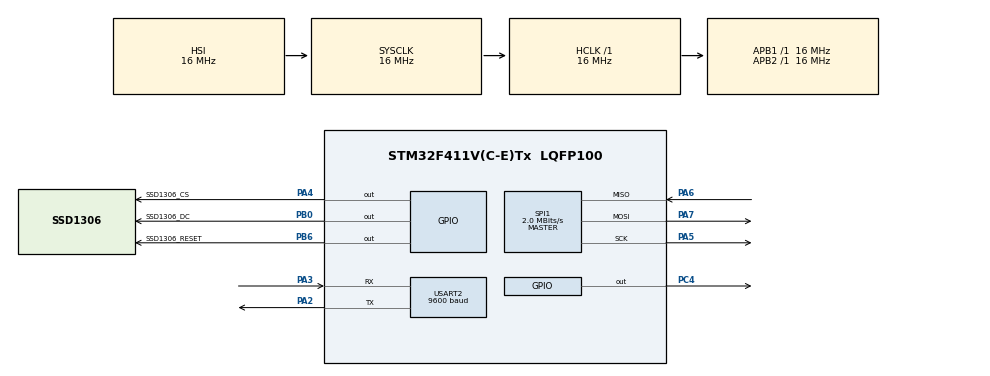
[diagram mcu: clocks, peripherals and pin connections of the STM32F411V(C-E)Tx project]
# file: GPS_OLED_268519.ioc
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Mcu.Family=STM32F4
Mcu.Name=STM32F411V(C-E)Tx
Mcu.Package=LQFP100
NVIC.PriorityGroup=NVIC_PRIORITYGROUP_4
NVIC.SPI1_IRQn=true\:0\:0\:false\:false\:true\:true\:true\:true
NVIC.USART2_IRQn=true\:0\:0\:false\:false\:true\:true\:true\:true
PA13.Mode=Serial_Wire
PA13.Signal=SYS_JTMS-SWDIO
PA14.Mode=Serial_Wire
PA14.Signal=SYS_JTCK-SWCLK
PA2.Mode=Asynchronous
PA2.Signal=USART2_TX
PA3.Mode=Asynchronous
PA3.Signal=USART2_RX
PA4.GPIO_Label=SSD1306_CS
PA4.Signal=GPIO_Output
PA5.Mode=Full_Duplex_Master
PA5.Signal=SPI1_SCK
PA6.Mode=Full_Duplex_Master
PA6.Signal=SPI1_MISO
PA7.Mode=Full_Duplex_Master
PA7.Signal=SPI1_MOSI
PB0.GPIO_Label=SSD1306_DC
PB0.Signal=GPIO_Output
PB6.GPIO_Label=SSD1306_RESET
PB6.Signal=GPIO_Output
PC4.Signal=GPIO_Output
ProjectManager.HeapSize=0x200
ProjectManager.StackSize=0x400
ProjectManager.TargetToolchain=STM32CubeIDE
RCC.48MHZClocksFreq_Value=64000000
RCC.AHBFreq_Value=16000000
RCC.APB1Freq_Value=16000000
RCC.APB2Freq_Value=16000000
RCC.CortexFreq_Value=16000000
RCC.HSE_VALUE=25000000
RCC.HSI_VALUE=16000000
RCC.LSE_VALUE=32768
RCC.PLLM=12
RCC.SYSCLKFreq_VALUE=16000000
RCC.VCOOutputFreq_Value=256000000
SPI1.BaudRatePrescaler=SPI_BAUDRATEPRESCALER_8
SPI1.CalculateBaudRate=2.0 MBits/s
SPI1.Direction=SPI_DIRECTION_2LINES
SPI1.Mode=SPI_MODE_MASTER
SPI1.VirtualType=VM_MASTER
USART2.BaudRate=9600
USART2.Mode=MODE_RX
USART2.VirtualMode=VM_ASYNC
USART2.WordLength=WORDLENGTH_8B
board=custom

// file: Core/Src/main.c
/* USER CODE BEGIN Header */
/**
  ******************************************************************************
  * @file           : main.c
  * @brief          : Main program body
  ******************************************************************************
  * @attention
  *
  * Copyright (c) 2025 STMicroelectronics.
  * All rights reserved.
  *
  * This software is licensed under terms that can be found in the LICENSE file
  * in the root directory of this software component.
  * If no LICENSE file comes with this software, it is provided AS-IS.
  *
  ******************************************************************************
  */
/* USER CODE END Header */
#include "main.h"

/* USER CODE BEGIN Includes */
#include "spi.h"
#include "GFX_BW.h"
#include "OLED_SSD1306.h"

#include "fonts/fonts.h"
#include <stdlib.h>  // dla rand()
#include <stdio.h>   // dla sprintf()
#include <string.h>
#include <math.h>

/* USER CODE END Includes */

/* USER CODE BEGIN PD */
#define GPS_BUFFER_SIZE 128
#define MAX_CHARS_PER_LINE 20
#define MAX_LINES 6

/* USER CODE END PD */

//SPI_HandleTypeDef hspi1;

UART_HandleTypeDef huart2;

/* USER CODE BEGIN PV */
char gps_buffer[GPS_BUFFER_SIZE];
// BUFORY NA RAMKI GPS
char gga_buffer[GPS_BUFFER_SIZE]; // Bufor na ramkę $GPGGA
char rmc_buffer[GPS_BUFFER_SIZE]; // Bufor na ramkę $GPRMC

volatile uint16_t gps_idx = 0;       // indeks do bufora GPS
volatile uint8_t gps_line_ready = 0; // flaga gotowej linii
uint8_t rx_byte;                     // bufor odbioru jednego znaku

// Zmienne GPS
float latitude = 0.0f;
float longitude = 0.0f;
char ns = 'N';
char ew = 'E';
int satellites = 0;
char time_field[11] = {0};
float altitude = 0.0f;

// Zmienne z ramki RMC
char date_field[7] = {0};     // DDMMYY
float speed_knots = 0.0f;
float speed_kmh = 0.0f;
int fix_valid = 0;            // A = 1, V = 0

char last_lines[MAX_LINES][GPS_BUFFER_SIZE] = {0};
/* USER CODE END PV */

void SystemClock_Config(void);
void MX_GPIO_Init(void);
void MX_SPI1_Init(void);
void MX_USART2_UART_Init(void);
/* USER CODE BEGIN PFP */

///Funkcja dzieląca tekst na linie o maksymalnej długości MAX_CHARS_PER_LINE mieszczacej sie na wyswietlaczu
void SplitTextSimple(const char *input, char lines[MAX_LINES][MAX_CHARS_PER_LINE+1])
{
    int start = 0; //indeks początkowy w tekście do kopiowania
    for(int i = 0; i < MAX_LINES; i++) { //iteracja po wszystkich liniach
        int j;
        //kopiujemy znaki do bieżącej linii
        //max znaków (MAX_CHARS_PER_LINE) lub do końca stringu
        for(j = 0; j < MAX_CHARS_PER_LINE && input[start+j] != '\0'; j++) {
            lines[i][j] = input[start+j];
        }
        lines[i][j] = '\0'; //dodanie znaku końca stringu
        start += MAX_CHARS_PER_LINE; //przesunięcie indeksu startowego do kolejnego fragmentu tekstu
    }
}

//Konwersja wspolrzędnych z formatu NMEA (ddmm.mmmm) na decimal
float convertNMEAToDecimal(const char* nmea)
{
    float val = atof(nmea);          //konwersja stringa na liczbę zmiennoprzecinkową
    int degrees = (float)((int)(val / 100.0f));  //częsc calkowita to stopnie
    float minutes = val - (degrees * 100.0f); //reszta to minuty
    return degrees + minutes / 60.0f;  //zamiana minut na stopnie dziesiętne i zwrocenie wartosci
}

//Parsowanie linii GGA z GPS na zmienne globalne
void parseGGA(const char* line)
{
    char copy[GPS_BUFFER_SIZE];
    strcpy(copy, line); //kopiujemy linie, bo strtok modyfikuje string

    char *token;
    int field_idx = 0;

    //dzielimy linie po przecinkach
    token = strtok(copy, ",");
    while(token != NULL) {
        switch(field_idx) {
            case 1: //pole czasu (hhmmss.sss)
                strncpy(time_field, token, sizeof(time_field)-1);
                time_field[sizeof(time_field)-1] = '\0';
                break;
            case 2: //szerokosc geo
                latitude = convertNMEAToDecimal(token);
                break;
            case 3: //N/S
                ns = token[0];
                if(ns == 'S') latitude = -latitude; //jesli poludnie, wartosc ujemna
                break;
            case 4: //dlugosc geo
                longitude = convertNMEAToDecimal(token);
                break;
            case 5: //E/W
                ew = token[0];
                if(ew == 'W') longitude = -longitude; //jesli zachd, wartosc ujemna
                break;
            case 7: // liczba satelitow
                satellites = atoi(token); //string -> int
                break;
            case 9: //wysokosc NPM
                altitude = atof(token); //string -> float
            default:
                break; //inne pola ignorujemy
        }
        field_idx++;
        token = strtok(NULL, ","); //przechodzimy do nastepnego pola
    }
}

//Parsowanie ramki RMC (czas, data, prędkosc)
void parseRMC(const char* line)
{
    char copy[GPS_BUFFER_SIZE];
    strcpy(copy, line);

    char *token = strtok(copy, ",");
    int field_idx = 0;

    while(token != NULL)
    {
        switch(field_idx)
        {
            case 1: //czas
                strncpy(time_field, token, sizeof(time_field)-1);
                break;

            case 2: //status A/V
                fix_valid = (token[0] == 'A');
                break;

            case 7: //predkosc w wezlach
                speed_knots = atof(token);
                speed_kmh = speed_knots * 1.852f;
                break;

            case 9: //data DDMMYY
                strncpy(date_field, token, sizeof(date_field)-1);
                break;
        }

        token = strtok(NULL, ",");
        field_idx++;
    }
}

void addNewLine(const char* line) {
    //przesuwamy stare linie w dol
    for(int i = MAX_LINES-1; i > 0; i--) {
        strncpy(last_lines[i], last_lines[i-1], GPS_BUFFER_SIZE-1);
        last_lines[i][GPS_BUFFER_SIZE-1] = 0;
    }
    strncpy(last_lines[0], line, GPS_BUFFER_SIZE-1);
    last_lines[0][GPS_BUFFER_SIZE-1] = 0;
}

///Funkcja dzielaca tekst na linie o maksymalnej dlugosci MAX_CHARS_PER_LINE
///Wypelnia tablicę 'lines' rozpoczynajac od podanego 'start_line_index'
void SplitTextWithIndex(const char *input, char lines[MAX_LINES][MAX_CHARS_PER_LINE+1], int start_line_index)
{
    int start = 0; // indeks poczatkowy w tekście do kopiowania
    for(int i = start_line_index; i < MAX_LINES; i++) { //iteracja po liniach, zaczynamy od 'start_line_index'
        int j;

        //Jeśli tekst wejściowy się skończył, wychodzimy
        if (input[start] == '\0') break;

        //kopiujemy znaki do bieżącej linii
        for(j = 0; j < MAX_CHARS_PER_LINE && input[start+j] != '\0'; j++) {
            lines[i][j] = input[start+j];
        }
        lines[i][j] = '\0'; //dodanie znaku końca stringu

        start += MAX_CHARS_PER_LINE; //przesunięcie indeksu startowego do kolejnego fragmentu tekstu
    }
}

//Funkcja do formatowania i wyświetlania danych z globalnych zmiennych
void formatAndDisplayData(char lines[MAX_LINES][MAX_CHARS_PER_LINE+1])
{
    char formatted_time[9]; //hh:mm:ss + '\0'
    char formatted_date[9]; //DD/MM/YY + '\0'

    //FORMATOWANIE CZASU
    if (strlen(time_field) >= 6) {
        strncpy(formatted_time, time_field, 2);
        formatted_time[2] = ':';
        strncpy(formatted_time + 3, time_field + 2, 2);
        formatted_time[5] = ':';
        strncpy(formatted_time + 6, time_field + 4, 2);
        formatted_time[8] = '\0';
    } else {
        strcpy(formatted_time, "--:--:--");
    }

    //FORMATOWANIE DATY
    if (strlen(date_field) >= 6) {
        strncpy(formatted_date, date_field, 2);
        formatted_date[2] = '/';
        strncpy(formatted_date + 3, date_field + 2, 2);
        formatted_date[5] = '/';
        strncpy(formatted_date + 6, date_field + 4, 2);
        formatted_date[8] = '\0';
    } else {
        strcpy(formatted_date, "--/--/--");
    }

    //Clear wszystkie 6 linii (indeksy 0-5)
    for (int i = 0; i < MAX_LINES; i++) {
        memset(lines[i], 0, MAX_CHARS_PER_LINE+1);
    }

    //linia 0 - data i status
    char *fix_status = fix_valid ? "(A)" : "(V)";
    sprintf(lines[0], "Date: %s | %s", formatted_date, fix_status);

    //linia 1 - czas
    sprintf(lines[1], "Time: %s", formatted_time);

    //linia 2 - opcjonalna ilosc satelitow i predkosc
    //sprintf(lines[2], "Sat: %d Spd: %.1f km/h", satellites, speed_kmh);

    //jesli mamy dane to:
    if (satellites > 0) {
        //linia 3 - szerokosc geo
        sprintf(lines[3], "Lat: %.3f %c", fabsf(latitude), ns);

        //linia 4 - dlugosc geo
        sprintf(lines[4], "Lon: %.3f %c", fabsf(longitude), ew);

        //linia 5 - wysokosc NPM
        sprintf(lines[5], "Alt: %.1f m", altitude);

    } else {
        //jesli nie ma danych to czekamy...
        sprintf(lines[3], "Waiting for data...");
    }
}
/* USER CODE END PFP */

int main(void)
{

  /* MCU Configuration--------------------------------------------------------*/

  /* Reset of all peripherals, Initializes the Flash interface and the Systick. */
  HAL_Init();

  /* Configure the system clock */
  SystemClock_Config();

  /* Initialize all configured peripherals */
  MX_GPIO_Init();
  MX_SPI1_Init();
  MX_USART2_UART_Init();
  /* USER CODE BEGIN 2 */
  MX_GPIO_Init();
  MX_SPI1_Init();

  //RESET fizyczny
  HAL_GPIO_WritePin(SSD1306_RESET_GPIO_Port, SSD1306_RESET_Pin, GPIO_PIN_RESET);
  HAL_Delay(50);
  HAL_GPIO_WritePin(SSD1306_RESET_GPIO_Port, SSD1306_RESET_Pin, GPIO_PIN_SET);
  HAL_Delay(50);

  //Inicjalizacja OLED
  SSD1306_SpiInit(&hspi1);
  SSD1306_Init();
  SSD1306_Clear(BLACK);
  SSD1306_Display();

  //Start odbioru UART w trybie przerwań
  HAL_UART_Receive_IT(&huart2, &rx_byte, 1);

  char lines[MAX_LINES][MAX_CHARS_PER_LINE+1];
  memset(lines, 0, sizeof(lines));

  /* USER CODE END 2 */

  /* Infinite loop */
  /* USER CODE BEGIN WHILE */
  while (1)
  {
	  SSD1306_Clear(BLACK);
	  GFX_SetFont(font_8x5);

	      //jesli przyszła nowa ramka -> parsuj i aktualizuj dane
	      if (gps_line_ready) {
	          gps_line_ready = 0;

	          if (strncmp(gps_buffer, "$GPGGA", 6) == 0) {
	              strncpy(gga_buffer, gps_buffer, GPS_BUFFER_SIZE - 1);
	              gga_buffer[GPS_BUFFER_SIZE - 1] = '\0';
	              parseGGA(gga_buffer); //aktualizacja czasu, satelity, szer/dlu geo

	          }
	          else if (strncmp(gps_buffer, "$GPRMC", 6) == 0) {
	              strncpy(rmc_buffer, gps_buffer, GPS_BUFFER_SIZE - 1);
	              rmc_buffer[GPS_BUFFER_SIZE - 1] = '\0';
	              parseRMC(rmc_buffer); //aktualizacja fix i predkosci
	          }
	      }

	      //formatowanie czytelnych danych na górne linie
	      formatAndDisplayData(lines);

	      //opcjonalne wyswietlanie surowej ramki RMC na dole -> dobrze przy debugu

	      /*
		  //wyswietlenie calosci bufforow
	      if (rmc_buffer[0] != '\0') {
	                //ramka RMC rozbita i wyswietlona od lini 4
	                SplitTextWithIndex(rmc_buffer, lines, 4);
	            }
	      if (gga_buffer[0] != '\0') {
	      	  	    //ramka GGA rozbita i wyswietlona od lini 5
	                SplitTextWithIndex(gga_buffer, lines, 5);
	            }
	       */

	      //wyświetlanie całości
	      for (int i = 0; i < MAX_LINES; i++) {
	          if (lines[i][0] != '\0') {
	              GFX_DrawString(0, i * 10, lines[i], WHITE, BLACK);
	          }
	      }

	      SSD1306_Display();
	      HAL_Delay(100);

    /* USER CODE END WHILE */

  }
}

void SystemClock_Config(void)
{
  RCC_OscInitTypeDef RCC_OscInitStruct = {0};
  RCC_ClkInitTypeDef RCC_ClkInitStruct = {0};

  /** Configure the main internal regulator output voltage
  */
  __HAL_RCC_PWR_CLK_ENABLE();
  __HAL_PWR_VOLTAGESCALING_CONFIG(PWR_REGULATOR_VOLTAGE_SCALE1);

  /** Initializes the RCC Oscillators according to the specified parameters
  * in the RCC_OscInitTypeDef structure.
  */
  RCC_OscInitStruct.OscillatorType = RCC_OSCILLATORTYPE_HSI;
  RCC_OscInitStruct.HSIState = RCC_HSI_ON;
  RCC_OscInitStruct.HSICalibrationValue = RCC_HSICALIBRATION_DEFAULT;
  RCC_OscInitStruct.PLL.PLLState = RCC_PLL_NONE;
  if (HAL_RCC_OscConfig(&RCC_OscInitStruct) != HAL_OK)
  {
    Error_Handler();
  }

  /** Initializes the CPU, AHB and APB buses clocks
  */
  RCC_ClkInitStruct.ClockType = RCC_CLOCKTYPE_HCLK|RCC_CLOCKTYPE_SYSCLK
                              |RCC_CLOCKTYPE_PCLK1|RCC_CLOCKTYPE_PCLK2;
  RCC_ClkInitStruct.SYSCLKSource = RCC_SYSCLKSOURCE_HSI;
  RCC_ClkInitStruct.AHBCLKDivider = RCC_SYSCLK_DIV1;
  RCC_ClkInitStruct.APB1CLKDivider = RCC_HCLK_DIV1;
  RCC_ClkInitStruct.APB2CLKDivider = RCC_HCLK_DIV1;

  if (HAL_RCC_ClockConfig(&RCC_ClkInitStruct, FLASH_LATENCY_0) != HAL_OK)
  {
    Error_Handler();
  }
}

void MX_USART2_UART_Init(void)
{

  huart2.Instance = USART2;
  huart2.Init.BaudRate = 9600;
  huart2.Init.WordLength = UART_WORDLENGTH_8B;
  huart2.Init.StopBits = UART_STOPBITS_1;
  huart2.Init.Parity = UART_PARITY_NONE;
  huart2.Init.Mode = UART_MODE_RX;
  huart2.Init.HwFlowCtl = UART_HWCONTROL_NONE;
  huart2.Init.OverSampling = UART_OVERSAMPLING_16;
  if (HAL_UART_Init(&huart2) != HAL_OK)
  {
    Error_Handler();
  }
  /* USER CODE BEGIN USART2_Init 2 */
  // Włącz przerwania w NVIC dla USART2
  HAL_NVIC_SetPriority(USART2_IRQn, 0, 0);
  HAL_NVIC_EnableIRQ(USART2_IRQn);
  /* USER CODE END USART2_Init 2 */

}

/* USER CODE BEGIN 4 */

//callback przerwania UART – odbior po 1 bajcie
void HAL_UART_RxCpltCallback(UART_HandleTypeDef *huart)
{
    if(huart->Instance == USART2) { //jesli przerwanie przychodzi z USART

        if(rx_byte != '\n' && rx_byte != '\r') {//dodajemy znak po znaku do bufora jesli jest zwykly
            if(gps_idx < GPS_BUFFER_SIZE - 1) {
                gps_buffer[gps_idx++] = rx_byte;
            }
        } else {
            if(gps_idx > 0) { //mamy jakiekolwiek dane w buforze - konczymy linie
                gps_buffer[gps_idx] = '\0';
                gps_line_ready = 1;
                gps_idx = 0;
            }
        }

        HAL_UART_Receive_IT(&huart2, &rx_byte, 1);//ponowne uruchomienie odbioru
    }
}

/* USER CODE END 4 */

void Error_Handler(void)
{
  __disable_irq();
  while (1)
  {
  }
}
